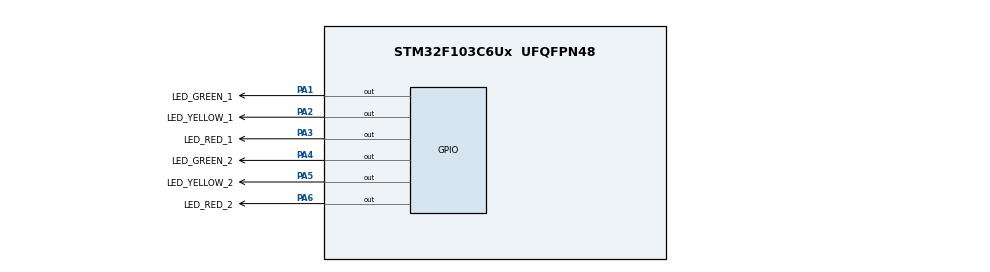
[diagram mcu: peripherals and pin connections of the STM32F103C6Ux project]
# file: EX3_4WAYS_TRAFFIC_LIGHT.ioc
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Mcu.Family=STM32F1
Mcu.Name=STM32F103C6Ux
Mcu.Package=UFQFPN48
NVIC.PriorityGroup=NVIC_PRIORITYGROUP_4
PA1.GPIO_Label=LED_GREEN_1
PA1.Signal=GPIO_Output
PA2.GPIO_Label=LED_YELLOW_1
PA2.Signal=GPIO_Output
PA3.GPIO_Label=LED_RED_1
PA3.Signal=GPIO_Output
PA4.GPIO_Label=LED_GREEN_2
PA4.Signal=GPIO_Output
PA5.GPIO_Label=LED_YELLOW_2
PA5.Signal=GPIO_Output
PA6.GPIO_Label=LED_RED_2
PA6.Signal=GPIO_Output
ProjectManager.HeapSize=0x200
ProjectManager.StackSize=0x400
ProjectManager.TargetToolchain=STM32CubeIDE
RCC.APB1Freq_Value=8000000
RCC.APB2Freq_Value=8000000
VP_SYS_VS_ND.Mode=No_Debug
board=custom

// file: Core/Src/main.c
/* USER CODE BEGIN Header */
/**
  ******************************************************************************
  * @file           : main.c
  * @brief          : Main program body
  ******************************************************************************
  * @attention
  *
  * <h2><center>&copy; Copyright (c) 2022 STMicroelectronics.
  * All rights reserved.</center></h2>
  *
  * This software component is licensed by ST under BSD 3-Clause license,
  * the "License"; You may not use this file except in compliance with the
  * License. You may obtain a copy of the License at:
  *                        opensource.org/licenses/BSD-3-Clause
  *
  ******************************************************************************
  */
/* USER CODE END Header */
#include "main.h"

void SystemClock_Config(void);
static void MX_GPIO_Init(void);

int main(void)
{

  /* MCU Configuration--------------------------------------------------------*/

  /* Reset of all peripherals, Initializes the Flash interface and the Systick. */
  HAL_Init();

  /* Configure the system clock */
  SystemClock_Config();

  /* Initialize all configured peripherals */
  MX_GPIO_Init();
  /* USER CODE BEGIN 2 */
  int8_t count = 0;
  HAL_GPIO_WritePin(GPIOA, LED_GREEN_1_Pin, 0);
  HAL_GPIO_WritePin(GPIOA, LED_YELLOW_1_Pin, 1);
  HAL_GPIO_WritePin(GPIOA, LED_RED_1_Pin, 1);

  HAL_GPIO_WritePin(GPIOA, LED_GREEN_2_Pin, 1);
  HAL_GPIO_WritePin(GPIOA, LED_YELLOW_2_Pin, 1);
  HAL_GPIO_WritePin(GPIOA, LED_RED_2_Pin, 0);
  /* USER CODE END 2 */

  /* Infinite loop */
  while (1)
  {
    /* USER CODE BEGIN 3 */
	  switch(count) {
	  case 3:
		  HAL_GPIO_WritePin(GPIOA, LED_GREEN_1_Pin, 1);
		  HAL_GPIO_WritePin(GPIOA, LED_YELLOW_1_Pin, 0);
		  break;
	  case 5:
		  HAL_GPIO_WritePin(GPIOA, LED_YELLOW_1_Pin, 1);
		  HAL_GPIO_WritePin(GPIOA, LED_RED_1_Pin, 0);
		  HAL_GPIO_WritePin(GPIOA, LED_RED_2_Pin, 1);
		  HAL_GPIO_WritePin(GPIOA, LED_GREEN_2_Pin, 0);
		  break;
	  case 8:
		  HAL_GPIO_WritePin(GPIOA, LED_GREEN_2_Pin, 1);
		  HAL_GPIO_WritePin(GPIOA, LED_YELLOW_2_Pin, 0);
		  break;
	  case 10:
		  HAL_GPIO_WritePin(GPIOA, LED_YELLOW_2_Pin, 1);
		  HAL_GPIO_WritePin(GPIOA, LED_RED_2_Pin, 0);
		  HAL_GPIO_WritePin(GPIOA, LED_RED_1_Pin, 1);
		  HAL_GPIO_WritePin(GPIOA, LED_GREEN_1_Pin, 0);
		  count = 0;
		  break;
	  }
	  HAL_Delay(1000);
	  count++;
  }
  /* USER CODE END 3 */
}

void SystemClock_Config(void)
{
  RCC_OscInitTypeDef RCC_OscInitStruct = {0};
  RCC_ClkInitTypeDef RCC_ClkInitStruct = {0};

  /** Initializes the RCC Oscillators according to the specified parameters
  * in the RCC_OscInitTypeDef structure.
  */
  RCC_OscInitStruct.OscillatorType = RCC_OSCILLATORTYPE_HSI;
  RCC_OscInitStruct.HSIState = RCC_HSI_ON;
  RCC_OscInitStruct.HSICalibrationValue = RCC_HSICALIBRATION_DEFAULT;
  RCC_OscInitStruct.PLL.PLLState = RCC_PLL_NONE;
  if (HAL_RCC_OscConfig(&RCC_OscInitStruct) != HAL_OK)
  {
    Error_Handler();
  }
  /** Initializes the CPU, AHB and APB buses clocks
  */
  RCC_ClkInitStruct.ClockType = RCC_CLOCKTYPE_HCLK|RCC_CLOCKTYPE_SYSCLK
                              |RCC_CLOCKTYPE_PCLK1|RCC_CLOCKTYPE_PCLK2;
  RCC_ClkInitStruct.SYSCLKSource = RCC_SYSCLKSOURCE_HSI;
  RCC_ClkInitStruct.AHBCLKDivider = RCC_SYSCLK_DIV1;
  RCC_ClkInitStruct.APB1CLKDivider = RCC_HCLK_DIV1;
  RCC_ClkInitStruct.APB2CLKDivider = RCC_HCLK_DIV1;

  if (HAL_RCC_ClockConfig(&RCC_ClkInitStruct, FLASH_LATENCY_0) != HAL_OK)
  {
    Error_Handler();
  }
}

static void MX_GPIO_Init(void)
{
  GPIO_InitTypeDef GPIO_InitStruct = {0};

  /* GPIO Ports Clock Enable */
  __HAL_RCC_GPIOA_CLK_ENABLE();

  /*Configure GPIO pin Output Level */
  HAL_GPIO_WritePin(GPIOA, LED_GREEN_1_Pin|LED_YELLOW_1_Pin|LED_RED_1_Pin|LED_GREEN_2_Pin
                          |LED_YELLOW_2_Pin|LED_RED_2_Pin, GPIO_PIN_RESET);

  /*Configure GPIO pins : LED_GREEN_1_Pin LED_YELLOW_1_Pin LED_RED_1_Pin LED_GREEN_2_Pin
                           LED_YELLOW_2_Pin LED_RED_2_Pin */
  GPIO_InitStruct.Pin = LED_GREEN_1_Pin|LED_YELLOW_1_Pin|LED_RED_1_Pin|LED_GREEN_2_Pin
                          |LED_YELLOW_2_Pin|LED_RED_2_Pin;
  GPIO_InitStruct.Mode = GPIO_MODE_OUTPUT_PP;
  GPIO_InitStruct.Pull = GPIO_NOPULL;
  GPIO_InitStruct.Speed = GPIO_SPEED_FREQ_LOW;
  HAL_GPIO_Init(GPIOA, &GPIO_InitStruct);

}

void Error_Handler(void)
{
  __disable_irq();
  while (1)
  {
  }
}

/************************ (C) COPYRIGHT STMicroelectronics *****END OF FILE****/
